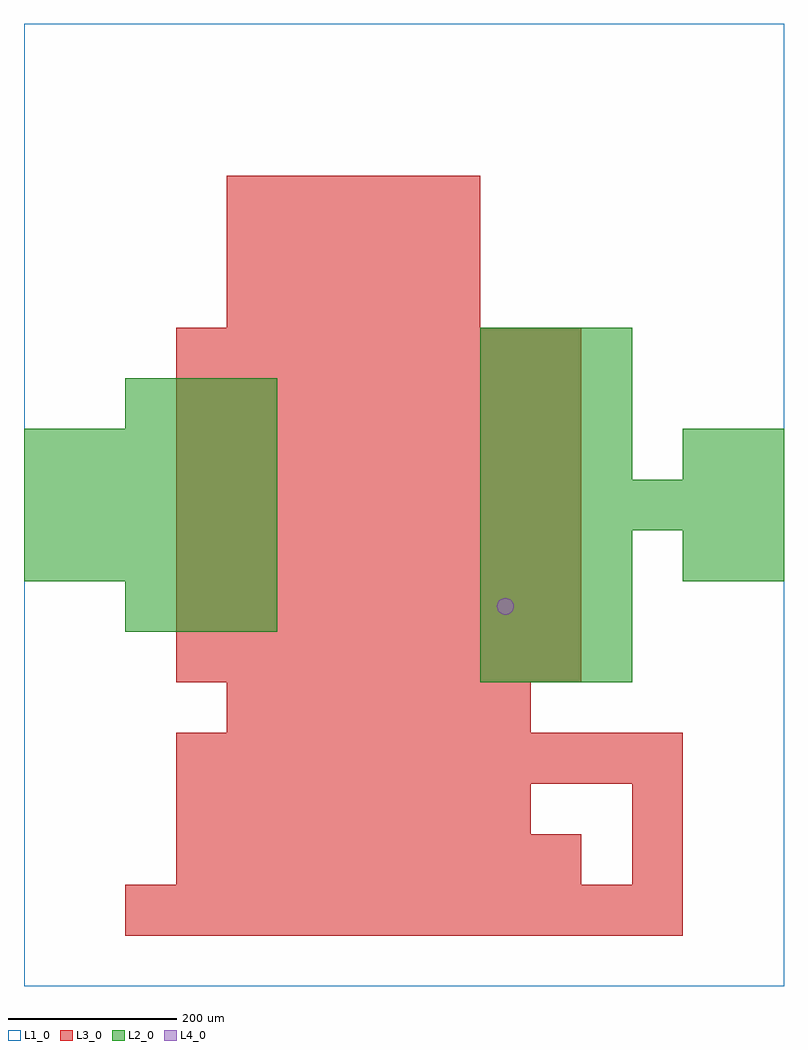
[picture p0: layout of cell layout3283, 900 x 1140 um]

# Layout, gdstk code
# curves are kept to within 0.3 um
import gdstk
lib = gdstk.Library(unit=1e-6, precision=1e-09)
def R(c, l, rs):  # rectangles x0, y0, x1, y1
    for r in rs: c.add(gdstk.rectangle(r[:2], r[2:], *l))
def A(c, l, x, y, w, h, nx, ny, dx, dy):  # array of equal rectangles
    R(c, l, [(x+i*dx, y+j*dy, x+i*dx+w, y+j*dy+h) for i in range(nx) for j in range(ny)])
def P(c, l, *ps):  # polygons
    for p in ps: c.add(gdstk.Polygon(p, *l))
L1_0 = (1, 0)
L2_0 = (2, 0)
L3_0 = (3, 0)
L4_0 = (4, 0)

layout3283 = lib.new_cell('layout3283')
R(layout3283, L1_0, [(0,0,900,1140)])
A(layout3283, L2_0, 540, 360, 60, 60, 3, 3, 60, 60)
A(layout3283, L2_0, 120, 420, 60, 60, 3, 2, 60, 240)
A(layout3283, L2_0, 0, 480, 60, 60, 5, 3, 60, 60)
A(layout3283, L2_0, 540, 540, 60, 60, 6, 1, 60, 0)
A(layout3283, L2_0, 540, 600, 60, 60, 3, 3, 60, 60)
R(layout3283, L2_0, [(780,480,840,540), (840,480,900,540), (780,600,840,660), (840,600,900,660)])
A(layout3283, L3_0, 120, 60, 60, 60, 11, 1, 60, 0)
A(layout3283, L3_0, 180, 120, 60, 60, 8, 2, 60, 240)
A(layout3283, L3_0, 180, 180, 60, 60, 7, 1, 60, 0)
A(layout3283, L3_0, 180, 240, 60, 60, 10, 1, 60, 0)
A(layout3283, L3_0, 240, 300, 60, 60, 6, 1, 60, 0)
A(layout3283, L3_0, 180, 420, 60, 60, 8, 6, 60, 60)
A(layout3283, L3_0, 240, 780, 60, 60, 5, 3, 60, 60)
R(layout3283, L3_0, [(720,120,780,180), (720,180,780,240)])
P(layout3283, L4_0, [(580,450),(579.239,453.827),(577.071,457.071),(573.827,459.239),(570,460),(566.173,459.239),(562.929,457.071),(560.761,453.827),(560,450),(560.761,446.173),(562.929,442.929),(566.173,440.761),(570,440),(573.827,440.761),(577.071,442.929),(579.239,446.173)])

lib.write_gds('layout3283.gds')
